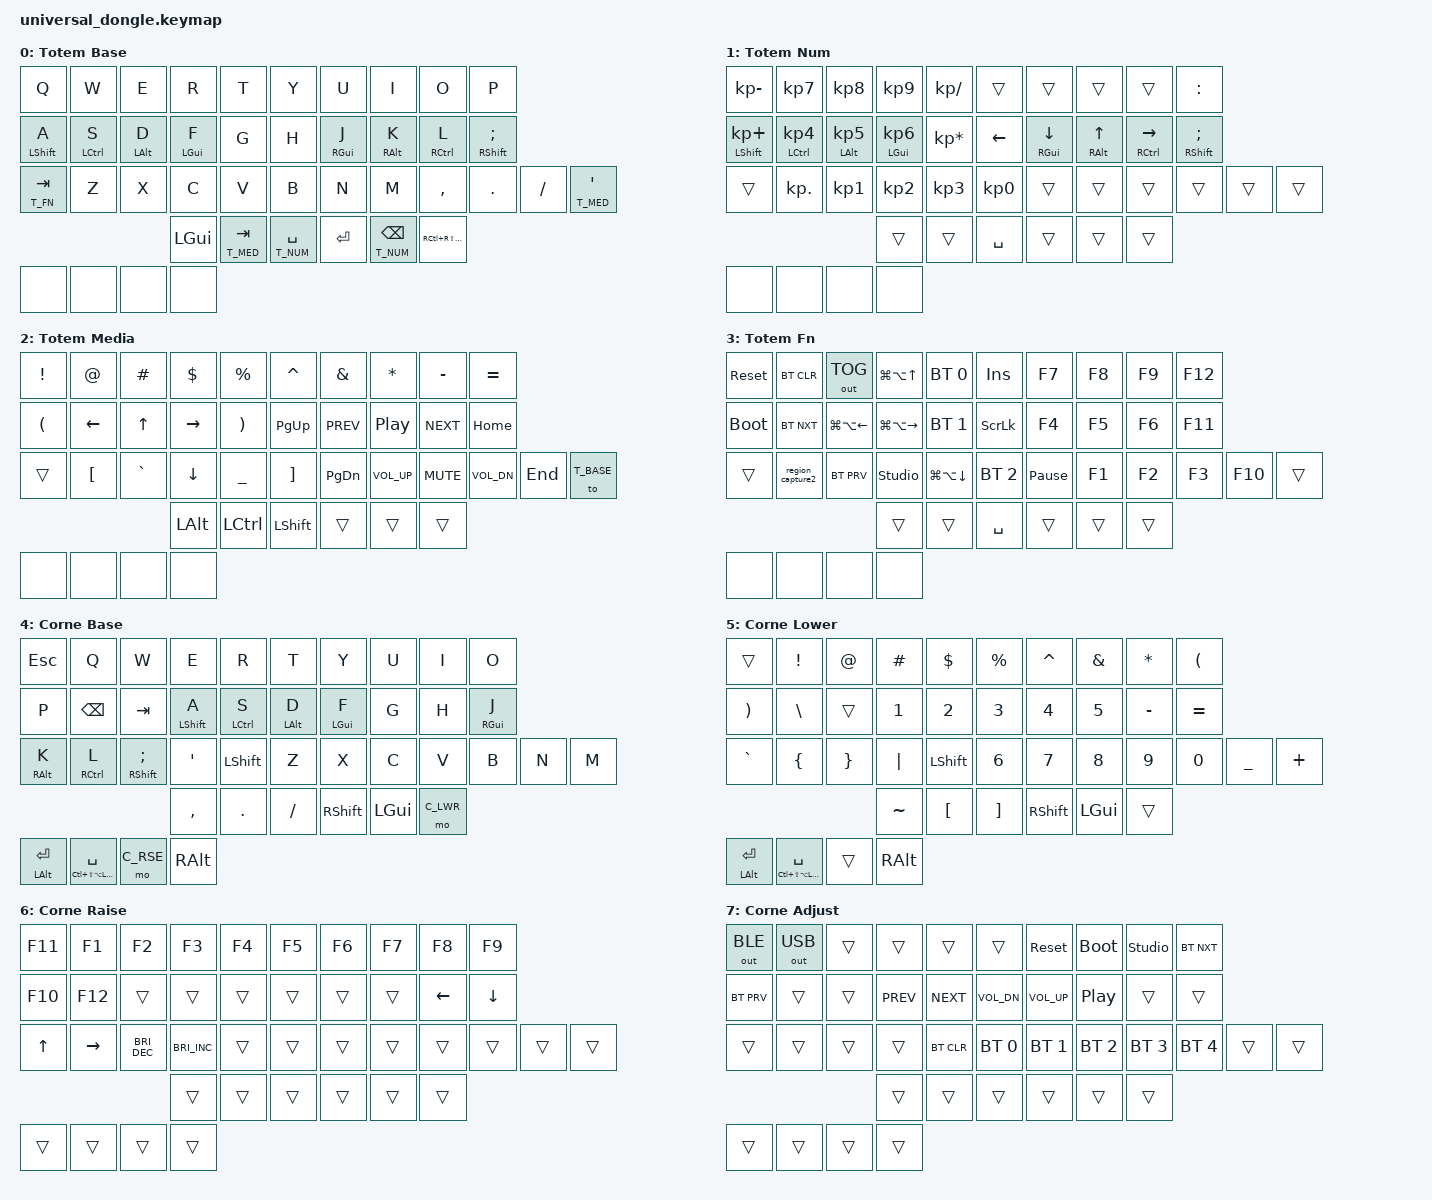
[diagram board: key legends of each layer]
// ZMK includes
#include <behaviors.dtsi>
#include <dt-bindings/zmk/keys.h>
#include <dt-bindings/zmk/bt.h>
#include <dt-bindings/zmk/outputs.h>
#include <dt-bindings/zmk/ext_power.h>

/*
 * Universal dongle keymap: two board configurations in one firmware.
 *
 * Layer groups:
 *   0-3   Totem config        (totem-native 38 positions, padded to 42)
 *   4-7   Corne/Kometa config (shared 42 positions)
 *
 * Switch configurations with the Z+X combo - the same physical gesture on
 * every board, defined per group on native position numbers:
 *   on totem layers:  Z+X = positions 21 22 -> &to 4 (corne/kometa config)
 *   on corne layers:  Z+X = positions 25 26 -> &to 0 (totem config)
 *
 * The dongle boots into layer 0 (totem). After replugging the dongle, press
 * Z+X once if the corne/kometa config is wanted. Only power the keyboard that
 * matches the active config; keys of the "wrong" board arrive scrambled.
 */

#define T_BASE 0
#define T_NUM   1
#define T_MED   2
#define T_FN    3
#define C_BASE  4
#define C_LWR   5
#define C_RSE   6
#define C_ADJ   7

/ {
    behaviors {
        // Totem's layer-tap for the Fn pinky key and the SQT key
        lc: layer_change {
            compatible = "zmk,behavior-hold-tap";
            #binding-cells = <2>;
            flavor = "hold-preferred";
            tapping-term-ms = <200>;
            quick-tap-ms = <200>;
            require-prior-idle-ms = <125>;
            bindings = <&to>, <&kp>;
        };

        // Corne's tap-preferred for the thumb keys
        tp: tap_preferred {
            compatible = "zmk,behavior-hold-tap";
            label = "TAP_PREFERRED";
            #binding-cells = <2>;
            tapping-term-ms = <200>;
            quick-tap-ms = <0>;
            flavor = "tap-preferred";
            bindings = <&kp>, <&kp>;
        };

        // Totem positional homerow mods (totem-native positions)
        // hold-triggers: opposite-hand keys + all thumb keys
        hmt_l: homerow_mods_totem_left {
            compatible = "zmk,behavior-hold-tap";
            #binding-cells = <2>;
            bindings = <&kp>, <&kp>;
            flavor = "balanced";
            tapping-term-ms = <300>;
            quick-tap-ms = <175>;
            require-prior-idle-ms = <150>;
            hold-trigger-key-positions = <5 6 7 8 9 15 16 17 18 19 26 27 28 29 30 31 32 33 34 35 36 37>;
            hold-trigger-on-release;
        };

        hmt_r: homerow_mods_totem_right {
            compatible = "zmk,behavior-hold-tap";
            #binding-cells = <2>;
            bindings = <&kp>, <&kp>;
            flavor = "balanced";
            tapping-term-ms = <300>;
            quick-tap-ms = <175>;
            require-prior-idle-ms = <150>;
            hold-trigger-key-positions = <0 1 2 3 4 10 11 12 13 14 20 21 22 23 24 25 32 33 34 35 36 37>;
            hold-trigger-on-release;
        };

        hmt_shift_l: homerow_shift_totem_left {
            compatible = "zmk,behavior-hold-tap";
            #binding-cells = <2>;
            bindings = <&kp>, <&kp>;
            flavor = "balanced";
            tapping-term-ms = <200>;
            quick-tap-ms = <175>;
            require-prior-idle-ms = <150>;
            hold-trigger-key-positions = <5 6 7 8 9 15 16 17 18 19 26 27 28 29 30 31 32 33 34 35 36 37>;
        };

        hmt_shift_r: homerow_shift_totem_right {
            compatible = "zmk,behavior-hold-tap";
            #binding-cells = <2>;
            bindings = <&kp>, <&kp>;
            flavor = "balanced";
            tapping-term-ms = <200>;
            quick-tap-ms = <175>;
            require-prior-idle-ms = <150>;
            hold-trigger-key-positions = <0 1 2 3 4 10 11 12 13 14 20 21 22 23 24 25 32 33 34 35 36 37>;
        };

        // Corne/Kometa positional homerow mods (corne-native positions)
        hmc_l: homerow_mods_corne_left {
            compatible = "zmk,behavior-hold-tap";
            #binding-cells = <2>;
            bindings = <&kp>, <&kp>;
            flavor = "balanced";
            tapping-term-ms = <300>;
            quick-tap-ms = <175>;
            require-prior-idle-ms = <150>;
            hold-trigger-key-positions = <6 7 8 9 10 11 18 19 20 21 22 23 30 31 32 33 34 35 36 37 38 39 40 41>;
            hold-trigger-on-release;
        };

        hmc_r: homerow_mods_corne_right {
            compatible = "zmk,behavior-hold-tap";
            #binding-cells = <2>;
            bindings = <&kp>, <&kp>;
            flavor = "balanced";
            tapping-term-ms = <300>;
            quick-tap-ms = <175>;
            require-prior-idle-ms = <150>;
            hold-trigger-key-positions = <0 1 2 3 4 5 12 13 14 15 16 17 24 25 26 27 28 29 36 37 38 39 40 41>;
            hold-trigger-on-release;
        };

        hmc_shift_l: homerow_shift_corne_left {
            compatible = "zmk,behavior-hold-tap";
            #binding-cells = <2>;
            bindings = <&kp>, <&kp>;
            flavor = "balanced";
            tapping-term-ms = <200>;
            quick-tap-ms = <175>;
            require-prior-idle-ms = <150>;
            hold-trigger-key-positions = <6 7 8 9 10 11 18 19 20 21 22 23 30 31 32 33 34 35 36 37 38 39 40 41>;
        };

        hmc_shift_r: homerow_shift_corne_right {
            compatible = "zmk,behavior-hold-tap";
            #binding-cells = <2>;
            bindings = <&kp>, <&kp>;
            flavor = "balanced";
            tapping-term-ms = <200>;
            quick-tap-ms = <175>;
            require-prior-idle-ms = <150>;
            hold-trigger-key-positions = <0 1 2 3 4 5 12 13 14 15 16 17 24 25 26 27 28 29 36 37 38 39 40 41>;
        };
    };

    macros {
        region_capture2: region_capture2 {
            compatible = "zmk,behavior-macro";
            #binding-cells = <0>;
            bindings =
                <&macro_press>,
                <&kp RCTRL>,
                <&macro_tap>,
                <&kp K_APP>,
                <&macro_release>,
                <&kp RCTRL>;

            label = "REGION_CAPTURE2";
        };
    };

    conditional_layers {
        compatible = "zmk,conditional-layers";
        tri_layer {
            if-layers = <C_LWR C_RSE>;
            then-layer = <C_ADJ>;
        };
    };

    combos {
        compatible = "zmk,combos";

        // ---- totem group combos (base layer of the totem config) ----
        combo_t_escape_left { timeout-ms = <40>; bindings = <&kp ESC>;     key-positions = <0 1>;       layers = <T_BASE>; require-prior-idle-ms = <200>; slow-release; };
        combo_t_escape     { timeout-ms = <40>; bindings = <&kp ESC>;      key-positions = <16 17>;     layers = <T_BASE>; };
        combo_t_delete     { timeout-ms = <40>; bindings = <&kp DELETE>;   key-positions = <12 13>;     layers = <T_BASE>; require-prior-idle-ms = <100>; };
        combo_t_enter      { timeout-ms = <40>; bindings = <&kp ENTER>;    key-positions = <10 11 12>;  layers = <T_BASE>; require-prior-idle-ms = <220>; slow-release; };
        combo_t_caps_word  { timeout-ms = <50>; bindings = <&caps_word>;   key-positions = <12 13 16 17>; layers = <T_BASE>; };
        combo_t_copy       { timeout-ms = <50>; bindings = <&kp LG(C)>;    key-positions = <22 23>;     layers = <T_BASE>; require-prior-idle-ms = <120>; };
        combo_t_paste      { timeout-ms = <50>; bindings = <&kp LG(V)>;    key-positions = <23 24>;     layers = <T_BASE>; require-prior-idle-ms = <120>; };
        combo_t_cut        { timeout-ms = <40>; bindings = <&kp LG(X)>;    key-positions = <22 24>;     layers = <T_BASE>; require-prior-idle-ms = <120>; };

        // switch to the corne/kometa config (works on every totem layer)
        combo_t_to_corne   { timeout-ms = <40>; bindings = <&to C_BASE>;  key-positions = <21 22>;     layers = <T_BASE T_NUM T_MED T_FN>; require-prior-idle-ms = <200>; slow-release; };

        // ---- corne/kometa group combos (base layer of the corne config) ----
        combo_c_escape_left { timeout-ms = <40>; bindings = <&kp ESC>;     key-positions = <1 2>;        layers = <C_BASE>; require-prior-idle-ms = <200>; slow-release; };
        combo_c_escape      { timeout-ms = <40>; bindings = <&kp ESC>;     key-positions = <19 20>;     layers = <C_BASE>; };
        combo_c_delete      { timeout-ms = <40>; bindings = <&kp DELETE>;  key-positions = <15 16>;     layers = <C_BASE>; require-prior-idle-ms = <100>; };
        combo_c_enter       { timeout-ms = <40>; bindings = <&kp ENTER>;   key-positions = <13 14 15>;  layers = <C_BASE>; require-prior-idle-ms = <220>; slow-release; };
        combo_c_caps_word   { timeout-ms = <50>; bindings = <&caps_word>;   key-positions = <15 16 19 20>; layers = <C_BASE>; };
        combo_c_copy        { timeout-ms = <50>; bindings = <&kp LG(C)>;    key-positions = <26 27>;     layers = <C_BASE>; require-prior-idle-ms = <120>; };
        combo_c_paste       { timeout-ms = <50>; bindings = <&kp LG(V)>;    key-positions = <27 28>;     layers = <C_BASE>; require-prior-idle-ms = <120>; };
        combo_c_cut         { timeout-ms = <40>; bindings = <&kp LG(X)>;    key-positions = <26 28>;     layers = <C_BASE>; require-prior-idle-ms = <120>; };

        // switch to the totem config (works on every corne layer)
        combo_c_to_totem    { timeout-ms = <40>; bindings = <&to T_BASE>;  key-positions = <25 26>;     layers = <C_BASE C_LWR C_RSE C_ADJ>; require-prior-idle-ms = <200>; slow-release; };
    };

    keymap {
        compatible = "zmk,keymap";

        // ================= Totem configuration =================

        totem_base_layer {
            display-name = "Totem Base";
            label = "T-BASE";

            bindings = <
                &kp Q              &kp W           &kp E          &kp R          &kp T                                &kp Y   &kp U            &kp I          &kp O           &kp P
                &hmt_shift_l LSHFT A &hmt_l LCTRL S &hmt_l LALT D &hmt_l LGUI F &kp G                                &kp H   &hmt_r RGUI J    &hmt_r RALT K  &hmt_r RCTRL L  &hmt_shift_r RSHFT SEMICOLON
                &lt T_FN TAB       &kp Z           &kp X          &kp C          &kp V          &kp B                                &kp N   &kp M            &kp COMMA      &kp DOT         &kp SLASH    &lc T_MED SQT
                                                                  &kp LGUI       &lt T_MED TAB  &lt T_NUM SPACE      &kp RET &lt T_NUM BSPC    &kp RC(RS(RA(RGUI)))
                &none &none &none &none
            >;
        };

        totem_num_layer {
            display-name = "Totem Num";
            label = "T-NUM";

            bindings = <
                &kp KP_MINUS              &kp KP_N7         &kp KP_N8          &kp KP_N9         &kp KP_DIVIDE       &trans    &trans              &trans          &trans          &kp COLON
                &hmt_shift_l LSHFT KP_PLUS &hmt_l LCTRL KP_N4 &hmt_l LALT KP_N5 &hmt_l LGUI KP_N6 &kp KP_MULTIPLY     &kp LEFT  &hmt_r RGUI DOWN    &hmt_r RALT UP  &hmt_r RCTRL RIGHT  &hmt_shift_r RSHFT SEMICOLON
                &trans     &kp KP_DOT     &kp KP_N1          &kp KP_N2         &kp KP_N3          &kp KP_N0           &trans    &trans              &trans          &trans          &trans    &trans
                                                                  &trans       &trans     &kp SPACE             &trans    &trans              &trans
                &none &none &none &none
            >;
        };

        totem_media_layer {
            display-name = "Totem Media";
            label = "T-MEDIA";

            bindings = <
                &kp EXCL &kp AT    &kp HASH  &kp DLLR  &kp PRCNT    &kp CARET &kp AMPS     &kp ASTRK    &kp MINUS   &kp EQUAL
                &kp LPAR &kp LEFT  &kp UP    &kp RIGHT &kp RPAR     &kp PG_UP &kp C_PREV   &kp C_PP     &kp C_NEXT  &kp HOME
                &trans   &kp LBKT  &kp GRAVE &kp DOWN  &kp UNDER    &kp RBKT &kp PG_DN     &kp C_VOL_UP &kp C_MUTE  &kp C_VOL_DN  &kp END  &to T_BASE
                                          &kp LALT  &kp LCTRL  &kp LSHFT    &trans &trans     &trans
                &none &none &none &none
            >;
        };

        totem_function_layer {
            display-name = "Totem Fn";
            label = "T-FN";

            bindings = <
                &sys_reset         &bt BT_CLR  &out OUT_TOG           &kp LG(LA(UP_ARROW))    &bt BT_SEL 0    &kp INSERT       &kp F7  &kp F8  &kp F9  &kp F12
                &bootloader        &bt BT_NXT  &kp LG(LA(LEFT_ARROW)) &kp LG(LA(RIGHT_ARROW)) &bt BT_SEL 1    &kp SLCK         &kp F4  &kp F5  &kp F6  &kp F11
                &trans  &region_capture2  &bt BT_PRV  &studio_unlock  &kp LG(LA(DOWN_ARROW))  &bt BT_SEL 2    &kp PAUSE_BREAK  &kp F1  &kp F2  &kp F3  &kp F10  &trans
                                          &trans  &trans  &kp SPACE    &trans    &trans     &trans
                &none &none &none &none
            >;
        };

        // ================= Corne / Kometa configuration =================

        corne_base_layer {
            display-name = "Corne Base";
            label = "C-BASE";

            bindings = <
                &kp ESC   &kp Q               &kp W &kp E &kp R &kp T            &kp Y &kp U      &kp I      &kp O     &kp P        &kp BSPC
                &kp TAB   &hmc_shift_l LSHFT A &hmc_l LCTRL S &hmc_l LALT D &hmc_l LGUI F &kp G    &kp H &hmc_r RGUI J &hmc_r RALT K &hmc_r RCTRL L &hmc_shift_r RSHFT SEMI &kp SQT
                &kp LSHFT &kp Z &kp X &kp C &kp V &kp B            &kp N &kp M  &kp COMMA &kp DOT &kp FSLH &kp RSHFT
                &kp LGUI &mo C_LWR    &tp LALT RET   &tp LC(LS(LA(LGUI))) SPACE &mo C_RSE &kp RALT
            >;
        };

        corne_lower_layer {
            display-name = "Corne Lower";
            label = "C-LWR";

            bindings = <
                &trans    &kp EXCL &kp AT &kp HASH &kp DLLR &kp PRCNT   &kp CARET &kp AMPS  &kp ASTRK &kp LPAR &kp RPAR &kp BSLH
                &trans    &kp N1   &kp N2 &kp N3   &kp N4   &kp N5      &kp MINUS &kp EQUAL &kp GRAVE &kp LBRC &kp RBRC &kp PIPE
                &kp LSHFT &kp N6   &kp N7 &kp N8   &kp N9   &kp N0      &kp UNDER &kp PLUS  &kp TILDE &kp LBKT &kp RBKT &kp RSHFT
                &kp LGUI &trans  &tp LALT RET     &tp LC(LS(LA(LGUI))) SPACE &trans &kp RALT
            >;
        };

        corne_raise_layer {
            display-name = "Corne Raise";
            label = "C-RSE";

            bindings = <
                &kp F11   &kp F1   &kp F2   &kp F3   &kp F4   &kp F5      &kp F6   &kp F7   &kp F8   &kp F9    &kp F10  &kp F12
                &trans    &trans   &trans   &trans   &trans   &trans      &kp LEFT &kp DOWN &kp UP &kp RIGHT &kp C_BRI_DEC &kp C_BRI_INC
                &trans    &trans   &trans   &trans   &trans   &trans      &trans   &trans   &trans &trans    &trans   &trans
                &trans   &trans   &trans      &trans   &trans   &trans
            >;
        };

        corne_adjust_layer {
            display-name = "Corne Adjust";
            label = "C-ADJ";

            bindings = <
                &out OUT_BLE  &out OUT_USB  &trans       &trans       &trans       &trans            &sys_reset &bootloader &studio_unlock &bt BT_NXT &bt BT_PRV &trans
                &trans        &kp C_PREV    &kp C_NEXT   &kp C_VOL_DN &kp C_VOL_UP &kp C_PP          &trans  &trans  &trans  &trans  &trans &trans
                &bt BT_CLR    &bt BT_SEL 0  &bt BT_SEL 1 &bt BT_SEL 2 &bt BT_SEL 3 &bt BT_SEL 4      &trans  &trans  &trans  &trans  &trans &trans
                &trans       &trans       &trans            &trans  &trans  &trans
            >;
        };
    };
};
